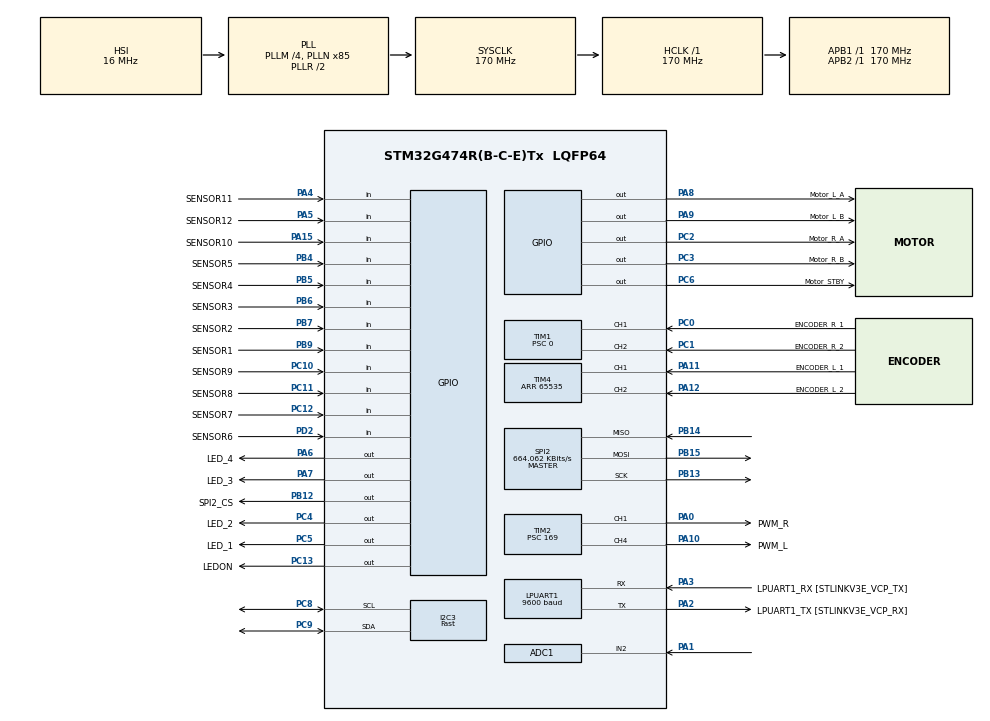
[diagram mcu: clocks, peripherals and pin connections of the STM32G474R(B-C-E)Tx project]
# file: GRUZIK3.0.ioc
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ADC1.Channel-2\#ChannelRegularConversion=ADC_CHANNEL_2
ADC1.ContinuousConvMode=ENABLE
ADC1.DMAContinuousRequests=ENABLE
ADC1.EnableRegularConversion=ENABLE
ADC1.NbrOfConversion=1
ADC1.NbrOfConversionFlag=1
ADC1.OffsetNumber-2\#ChannelRegularConversion=ADC_OFFSET_NONE
ADC1.Rank-2\#ChannelRegularConversion=1
ADC1.SamplingTime-2\#ChannelRegularConversion=ADC_SAMPLETIME_640CYCLES_5
ADC1.master=1
Dma.ADC1.0.Direction=DMA_PERIPH_TO_MEMORY
Dma.ADC1.0.EventEnable=DISABLE
Dma.ADC1.0.Instance=DMA1_Channel1
Dma.ADC1.0.MemDataAlignment=DMA_MDATAALIGN_HALFWORD
Dma.ADC1.0.MemInc=DMA_MINC_ENABLE
Dma.ADC1.0.Mode=DMA_CIRCULAR
Dma.ADC1.0.PeriphDataAlignment=DMA_PDATAALIGN_HALFWORD
Dma.ADC1.0.PeriphInc=DMA_PINC_DISABLE
Dma.ADC1.0.Polarity=HAL_DMAMUX_REQ_GEN_RISING
Dma.ADC1.0.Priority=DMA_PRIORITY_LOW
Dma.ADC1.0.RequestNumber=1
Dma.ADC1.0.SignalID=NONE
Dma.ADC1.0.SyncEnable=DISABLE
Dma.ADC1.0.SyncPolarity=HAL_DMAMUX_SYNC_NO_EVENT
Dma.ADC1.0.SyncRequestNumber=1
Dma.ADC1.0.SyncSignalID=NONE
Dma.Request0=ADC1
Dma.Request1=TIM4_UP
Dma.TIM4_UP.1.Direction=DMA_PERIPH_TO_MEMORY
Dma.TIM4_UP.1.EventEnable=DISABLE
Dma.TIM4_UP.1.Instance=DMA1_Channel2
Dma.TIM4_UP.1.MemDataAlignment=DMA_MDATAALIGN_WORD
Dma.TIM4_UP.1.MemInc=DMA_MINC_DISABLE
Dma.TIM4_UP.1.Mode=DMA_CIRCULAR
Dma.TIM4_UP.1.PeriphDataAlignment=DMA_PDATAALIGN_WORD
Dma.TIM4_UP.1.PeriphInc=DMA_PINC_DISABLE
Dma.TIM4_UP.1.Polarity=HAL_DMAMUX_REQ_GEN_RISING
Dma.TIM4_UP.1.Priority=DMA_PRIORITY_LOW
Dma.TIM4_UP.1.RequestNumber=1
Dma.TIM4_UP.1.SignalID=NONE
Dma.TIM4_UP.1.SyncEnable=DISABLE
Dma.TIM4_UP.1.SyncPolarity=HAL_DMAMUX_SYNC_NO_EVENT
Dma.TIM4_UP.1.SyncRequestNumber=1
Dma.TIM4_UP.1.SyncSignalID=NONE
I2C3.I2C_Speed_Mode=I2C_Fast
I2C3.Timing=0x40621236
LPUART1.BaudRate=9600
LPUART1.WordLength=UART_WORDLENGTH_8B
Mcu.Family=STM32G4
Mcu.Name=STM32G474R(B-C-E)Tx
Mcu.Package=LQFP64
NVIC.DMA1_Channel1_IRQn=true\:0\:0\:false\:false\:true\:false\:true\:true
NVIC.DMA1_Channel2_IRQn=true\:0\:0\:false\:false\:true\:false\:true\:true
NVIC.LPUART1_IRQn=true\:0\:0\:false\:false\:true\:true\:true\:true
NVIC.PriorityGroup=NVIC_PRIORITYGROUP_4
NVIC.TIM5_IRQn=true\:0\:0\:false\:false\:true\:true\:true\:true
PA0.GPIO_Label=PWM_R
PA0.Signal=S_TIM2_CH1
PA1.Mode=IN2-Single-Ended
PA1.Signal=ADC1_IN2
PA10.GPIO_Label=PWM_L
PA10.Signal=S_TIM2_CH4
PA11.GPIO_Label=ENCODER_L_1
PA11.Signal=S_TIM4_CH1
PA12.GPIO_Label=ENCODER_L_2
PA12.Signal=S_TIM4_CH2
PA13.GPIO_Label=T_SWDIO
PA13.Mode=Serial_Wire
PA13.Signal=SYS_JTMS-SWDIO
PA14.GPIO_Label=T_SWCLK
PA14.Mode=Serial_Wire
PA14.Signal=SYS_JTCK-SWCLK
PA15.GPIO_Label=SENSOR10
PA15.Signal=GPIO_Input
PA2.GPIO_Label=LPUART1_TX [STLINKV3E_VCP_RX]
PA2.Mode=Asynchronous
PA2.Signal=LPUART1_TX
PA3.GPIO_Label=LPUART1_RX [STLINKV3E_VCP_TX]
PA3.Mode=Asynchronous
PA3.Signal=LPUART1_RX
PA4.GPIO_Label=SENSOR11
PA4.Signal=GPIO_Input
PA5.GPIO_Label=SENSOR12
PA5.Signal=GPIO_Input
PA6.GPIO_Label=LED_4
PA6.Signal=GPIO_Output
PA7.GPIO_Label=LED_3
PA7.Signal=GPIO_Output
PA8.GPIO_Label=Motor_L_A
PA8.Signal=GPIO_Output
PA9.GPIO_Label=Motor_L_B
PA9.Signal=GPIO_Output
PB12.GPIO_Label=SPI2_CS
PB12.Signal=GPIO_Output
PB13.Mode=Full_Duplex_Master
PB13.Signal=SPI2_SCK
PB14.Mode=Full_Duplex_Master
PB14.Signal=SPI2_MISO
PB15.Mode=Full_Duplex_Master
PB15.Signal=SPI2_MOSI
PB3.GPIO_Label=T_SWO
PB3.Signal=SYS_JTDO-SWO
PB4.GPIO_Label=SENSOR5
PB4.Signal=GPIO_Input
PB5.GPIO_Label=SENSOR4
PB5.Signal=GPIO_Input
PB6.GPIO_Label=SENSOR3
PB6.Signal=GPIO_Input
PB7.GPIO_Label=SENSOR2
PB7.Signal=GPIO_Input
PB9.GPIO_Label=SENSOR1
PB9.Signal=GPIO_Input
PC0.GPIO_Label=ENCODER_R_1
PC0.Signal=S_TIM1_CH1
PC1.GPIO_Label=ENCODER_R_2
PC1.Signal=S_TIM1_CH2
PC10.GPIO_Label=SENSOR9
PC10.Signal=GPIO_Input
PC11.GPIO_Label=SENSOR8
PC11.Signal=GPIO_Input
PC12.GPIO_Label=SENSOR7
PC12.Signal=GPIO_Input
PC13.GPIO_Label=LEDON
PC13.Signal=GPIO_Output
PC14-OSC32_IN.Mode=LSE-External-Oscillator
PC14-OSC32_IN.Signal=RCC_OSC32_IN
PC15-OSC32_OUT.Mode=LSE-External-Oscillator
PC15-OSC32_OUT.Signal=RCC_OSC32_OUT
PC2.GPIO_Label=Motor_R_A
PC2.Signal=GPIO_Output
PC3.GPIO_Label=Motor_R_B
PC3.Signal=GPIO_Output
PC4.GPIO_Label=LED_2
PC4.Signal=GPIO_Output
PC5.GPIO_Label=LED_1
PC5.Signal=GPIO_Output
PC6.GPIO_Label=Motor_STBY
PC6.Signal=GPIO_Output
PC8.Mode=I2C
PC8.Signal=I2C3_SCL
PC9.Mode=I2C
PC9.Signal=I2C3_SDA
PD2.GPIO_Label=SENSOR6
PD2.Signal=GPIO_Input
PF0-OSC_IN.Mode=HSE-External-Oscillator
PF0-OSC_IN.Signal=RCC_OSC_IN
PF1-OSC_OUT.Mode=HSE-External-Oscillator
PF1-OSC_OUT.Signal=RCC_OSC_OUT
ProjectManager.HeapSize=0x200
ProjectManager.StackSize=0x400
ProjectManager.TargetToolchain=STM32CubeIDE
RCC.ADC12Freq_Value=170000000
RCC.ADC345Freq_Value=170000000
RCC.AHBFreq_Value=170000000
RCC.APB1Freq_Value=170000000
RCC.APB1TimFreq_Value=170000000
RCC.APB2Freq_Value=170000000
RCC.APB2TimFreq_Value=170000000
RCC.CortexFreq_Value=170000000
RCC.EXTERNAL_CLOCK_VALUE=12288000
RCC.HCLKFreq_Value=170000000
RCC.HSE_VALUE=24000000
RCC.HSI48_VALUE=48000000
RCC.HSI_VALUE=16000000
RCC.LPUART1CLockSelection=RCC_LPUART1CLKSOURCE_LSE
RCC.PLLM=RCC_PLLM_DIV4
RCC.PLLN=85
RCC.RTCClockSelection=RCC_RTCCLKSOURCE_LSE
RCC.SYSCLKFreq_VALUE=170000000
RCC.SYSCLKSource=RCC_SYSCLKSOURCE_PLLCLK
RCC.USBFreq_Value=170000000
RCC.VCOOutputFreq_Value=340000000
SH.S_TIM1_CH1.0=TIM1_CH1,Encoder_Interface
SH.S_TIM1_CH2.0=TIM1_CH2,Encoder_Interface
SH.S_TIM2_CH1.0=TIM2_CH1,PWM Generation1 CH1
SH.S_TIM2_CH4.0=TIM2_CH4,PWM Generation4 CH4
SH.S_TIM4_CH1.0=TIM4_CH1,Encoder_Interface
SH.S_TIM4_CH2.0=TIM4_CH2,Encoder_Interface
SPI2.BaudRatePrescaler=SPI_BAUDRATEPRESCALER_256
SPI2.CalculateBaudRate=664.062 KBits/s
SPI2.DataSize=SPI_DATASIZE_8BIT
SPI2.Direction=SPI_DIRECTION_2LINES
SPI2.Mode=SPI_MODE_MASTER
SPI2.VirtualType=VM_MASTER
TIM1.CounterMode=TIM_COUNTERMODE_UP
TIM1.EncoderMode=TIM_ENCODERMODE_TI12
TIM1.IC1Filter=3
TIM1.IC2Filter=3
TIM1.PeriodNoDither=65535
TIM1.Prescaler=0
TIM2.Channel-PWM\ Generation1\ CH1=TIM_CHANNEL_1
TIM2.Channel-PWM\ Generation4\ CH4=TIM_CHANNEL_4
TIM2.PeriodNoDither=999
TIM2.Prescaler=169
TIM3.Prescaler=169
TIM4.CounterMode=TIM_COUNTERMODE_UP
TIM4.EncoderMode=TIM_ENCODERMODE_TI12
TIM4.IC1Filter=3
TIM4.IC2Filter=3
TIM4.PeriodNoDither=65535
TIM5.CounterMode=TIM_COUNTERMODE_DOWN
TIM5.PeriodNoDither=999
TIM5.Prescaler=169
VP_FATFS_VS_Generic.Mode=User_defined
VP_SYS_VS_DBSignals.Mode=DisableDeadBatterySignals
VP_TIM2_VS_ClockSourceINT.Mode=Internal
VP_TIM3_VS_ClockSourceINT.Mode=Internal
VP_TIM5_VS_ClockSourceINT.Mode=Internal
board=NUCLEO-G474RE

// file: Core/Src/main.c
/* USER CODE BEGIN Header */
/**
  ******************************************************************************
  * @file           : main.c
  * @brief          : Main program body
  ******************************************************************************
  * @attention
  *
  * Copyright (c) 2024 STMicroelectronics.
  * All rights reserved.
  *
  * This software is licensed under terms that can be found in the LICENSE file
  * in the root directory of this software component.
  * If no LICENSE file comes with this software, it is provided AS-IS.
  *
  ******************************************************************************
  */
/* USER CODE END Header */
#include "main.h"
#include "adc.h"
#include "dma.h"
#include "app_fatfs.h"
#include "i2c.h"
#include "usart.h"
#include "spi.h"
#include "tim.h"
#include "gpio.h"

/* USER CODE BEGIN Includes */
#include "stdlib.h"
#include "stdio.h"
#include "string.h"
#include "Line_Follower.h"
#include "RingBuffer.h"
#include "SimpleParser.h"
#include "motor.h"
#include "LowPassFilter.h"
#include "TJ_MPU6050.h"
#include "map.h"
#include "odometry.h"
#include "robot_config.h"
#include "robot_settings.h"
#include <math.h>
/* USER CODE END Includes */

/* USER CODE BEGIN PV */
	/*Defines*/
//	#define true 1;
//	#define false 0;

	//uint8_t DrivingOnMap = 1;
	uint8_t SDReadingReady = 0;
	#define ENDLINE '\n'

	/*Sensor*/
	#define SENSOR_SCALE 1 // sensor values multiplier -- for tests only

	/*MAP*/
	#define CURVATURE_COMPENSATION 0
	Map_t map;
	Odometry_t RobotOdom;
	/*FatFS variables*/
	FRESULT FatFsResult;
	FATFS SdFatFs;
	FIL SdCardFile;

	/*IMU*/
	RawData_Def myAccelRaw, myGyroRaw;
	ScaledData_Def myAccelScaled, myGyroScaled;
	MPU_ConfigTypeDef myMpuConfig;

	float Yaw;
	static float GyroZBiasDps = 0.0f;
	static float GyroZRawDps = 0.0f;
	static float GyroZCorrectedDps = 0.0f;
	/*Encoders*/
	#define PI_MOTOR_SPEED_REGULATION 1
	#define LOW_PASS_FILTER_ALPHA 0.7
	LineFollower_t GRUZIK;
	motor_t Motor_L;
	motor_t Motor_R;

	uint16_t timer_counter_L;
	uint16_t timer_counter_R;

	/*Rest of PIDR regulator*/
	uint64_t Sensors_read = 0x000000000000ULL;
	int Position;
	float Ki = 0;
	float Kr = 0;
	int P, I, D, R;
	int Last_error = 0;
	int Errors[10] = {0,0,0,0,0,0,0,0,0,0};
	int Error_sum = 0;
	int Last_end = 0;	// 0 -> Left, 1 -> Right
	int Last_idle = 0;
	float Speed_level = 1;
	int ARR = 4;
	int actives = 0;
	uint32_t LastEndTimer;
	static uint8_t LineGapBridgeActive = 0u;
	static uint8_t LineGapBridgeAllowed = 0u;
	static uint32_t LineGapBridgeStartMs = 0u;
	static int LastLineMotorRight = 0;
	static int LastLineMotorLeft = 0;
	static int LastValidLineError = 0;

	/*Communication*/
    char buffer[28];
    uint8_t buffer_2[60];
    uint8_t RxData;
	RingBuffer_t RB, ReceiveBuffer;
    uint8_t ReceivedData[PARSER_LINE_BUFFER_SIZE];
	volatile uint8_t ReceivedLines;
	volatile uint8_t MappingAutoClosePending;

/* USER CODE END PV */

void SystemClock_Config(void);
/* USER CODE BEGIN PFP */
void PID_control();
int errors_sum (int index, int abs);
void past_errors (int error);
void forward_brake(int pos_right, int pos_left);
int QTR8_read();
void sharp_turn();
void motor_control (double pos_right, double pos_left);
static void Robot_StopOutputs(void);
static void Robot_ServiceTelemetry(void);
static void Robot_ServiceControl(void);
static void Robot_SendOdomTelemetry(void);
static void Robot_SendDebugTelemetry(void);
static void Robot_UpdateSpeedStats(void);
static float ClampMotorCommand(float speed);
static uint32_t LineSensorThresholdUs(void);
static void LineSensorDelayUs(uint32_t delay_us);
static void LineSensorSetInput(void);
static void LineSensorSetOutputHigh(void);
static uint8_t LineSensorIsActive(GPIO_PinState state);
static uint8_t LineSensorTouchesGapEdgeGuard(void);
void Robot_ResetOdometry(void);
/* USER CODE END PFP */

int main(void)
{

  /* MCU Configuration--------------------------------------------------------*/

  /* Reset of all peripherals, Initializes the Flash interface and the Systick. */
  HAL_Init();

  /* Configure the system clock */
  SystemClock_Config();

  /* Initialize all configured peripherals */
  MX_GPIO_Init();
  MX_DMA_Init();
  MX_LPUART1_UART_Init();
  MX_ADC1_Init();
  MX_I2C3_Init();
  MX_SPI2_Init();
  MX_TIM1_Init();
  MX_TIM2_Init();
  MX_TIM4_Init();
  MX_TIM3_Init();
  MX_TIM5_Init();
  if (MX_FATFS_Init() != APP_OK) {
    Error_Handler();
  }
  /* USER CODE BEGIN 2 */
  	HAL_ADC_Start_DMA(&hadc1, (uint32_t*)&GRUZIK.Adc_Value, 1);

  	/*Initial values for driving on Optimized route*/
  	map.p = 90.0f;
  	map.i = 0;
  	map.d = 10.0f;

  	GRUZIK.state = PidFollowing;
  	GRUZIK.PowerMode = Stop;
  	GRUZIK.LineFollowing = 0u;

  	/*Set initial values for PID*/
    GRUZIK.Kp = 0.015;
  	GRUZIK.Kd = 0.085;
  	GRUZIK.Speed_offset = 0.014;
  	GRUZIK.treshold = ROBOT_LINE_SENSOR_DEFAULT_THRESHOLD_US;

  	GRUZIK.Base_speed_R = 80;
  	GRUZIK.Base_speed_L = 80;
  	GRUZIK.Max_speed_R = 80;
  	GRUZIK.Max_speed_L = 80;

  	/*Sharp turn speed*/
  	GRUZIK.Sharp_bend_speed_right= -50;
  	GRUZIK.Sharp_bend_speed_left= 100;
  	GRUZIK.Bend_speed_right= -50;
  	GRUZIK.Bend_speed_left= 100;

  	map.Kk = 0;
  	map.DefaultPlaybackSpeed = 80.0f;
  	Map_Reset(&map);
  	(void)RobotSettings_Load(&GRUZIK, &map);
  	Odometry_Init(&RobotOdom, ROBOT_ODOMETRY_GYRO_WEIGHT);
  	Robot_ResetOdometry();

    /*Start receiving data from Blue tooth*/
    HAL_UART_Receive_IT(&hlpuart1, &RxData, 1);

    /*encoders*/
    HAL_TIM_Encoder_Start(&htim4, TIM_CHANNEL_ALL); // Left Encoder
    HAL_TIM_Encoder_Start(&htim1, TIM_CHANNEL_ALL); // Right Encoder

    //         Motor     KP    KI
    Motor_Init(&Motor_R, 0.1, 0.2);//0.1 0.2
    Motor_Init(&Motor_L, 0.1, 0.2);
    Motor_SetEncoderDirection(&Motor_L, ROBOT_LEFT_ENCODER_DIRECTION);
    Motor_SetEncoderDirection(&Motor_R, ROBOT_RIGHT_ENCODER_DIRECTION);
    LowPassFilter_Init(&Motor_R.EncoderRpmFilter, LOW_PASS_FILTER_ALPHA);
    LowPassFilter_Init(&Motor_L.EncoderRpmFilter, LOW_PASS_FILTER_ALPHA);
    LowPassFilter_Init(&Motor_L.MetersPerSecondLPF, LOW_PASS_FILTER_ALPHA);
    LowPassFilter_Init(&Motor_R.MetersPerSecondLPF, LOW_PASS_FILTER_ALPHA);

    /*SD Card mount check. Files are opened by parser commands when needed. */
    FatFsResult = f_mount(&SdFatFs, "", 1);
    SDReadingReady = (FatFsResult == FR_OK) ? 1u : 0u;
    (void)Parser_ServicePendingBluetoothName();
	/*Start timers and PWM on channels*/
	HAL_TIM_Base_Start_IT(&htim3);
	HAL_TIM_PWM_Start(&htim2, TIM_CHANNEL_1);//right pwm
	HAL_TIM_PWM_Start(&htim2, TIM_CHANNEL_4);//left pwm

	/*IMU initialization*/
	//1. Initialize the MPU6050 module and I2C
	MPU6050_Init(&hi2c3);

	//2. Configure parameters
	myMpuConfig.Accel_Full_Scale = AFS_SEL_16g;
	myMpuConfig.ClockSource = Internal_8MHz;
	myMpuConfig.CONFIG_DLPF = DLPF_184A_188G_Hz;
	myMpuConfig.Gyro_Full_Scale = FS_SEL_2000;
	myMpuConfig.Sleep_Mode_Bit = 0;  //1: sleep mode, 0: normal mode
	MPU6050_Config(&myMpuConfig);
	htim4.Instance->CNT = ROBOT_ENCODER_COUNTER_CENTER;
	htim1.Instance->CNT = ROBOT_ENCODER_COUNTER_CENTER;
	HAL_TIM_Base_Start_IT(&htim5);

    /*LED diodes initial set*/
    HAL_GPIO_WritePin(LED_4_GPIO_Port, LED_4_Pin, GPIO_PIN_SET);
    HAL_GPIO_WritePin(LED_3_GPIO_Port, LED_3_Pin, GPIO_PIN_SET);
    HAL_GPIO_WritePin(LED_2_GPIO_Port, LED_2_Pin, GPIO_PIN_SET);
    HAL_GPIO_WritePin(LED_1_GPIO_Port, LED_1_Pin, GPIO_PIN_SET);

  /* USER CODE END 2 */

  /* Infinite loop */
  while (1)
  {

    /* USER CODE BEGIN 3 */
	  if(ReceivedLines > 0u)
	  {
		  Parser_TakeLine(&ReceiveBuffer, ReceivedData);
		  Parser_Parse(ReceivedData,&GRUZIK);
		  ReceivedLines--;
	  }

	  if(MappingAutoClosePending != 0u)
	  {
		  MappingAutoClosePending = 0u;
		  Parser_FinishMappingAutoClosed(&GRUZIK);
	  }

	  Robot_ServiceControl();
	  Robot_ServiceTelemetry();
	  RobotSettings_Service(&GRUZIK, &map);

  }
  /* USER CODE END 3 */
}

void SystemClock_Config(void)
{
  RCC_OscInitTypeDef RCC_OscInitStruct = {0};
  RCC_ClkInitTypeDef RCC_ClkInitStruct = {0};

  /** Configure the main internal regulator output voltage
  */
  HAL_PWREx_ControlVoltageScaling(PWR_REGULATOR_VOLTAGE_SCALE1_BOOST);

  /** Configure LSE Drive Capability
  */
  HAL_PWR_EnableBkUpAccess();
  __HAL_RCC_LSEDRIVE_CONFIG(RCC_LSEDRIVE_LOW);

  /** Initializes the RCC Oscillators according to the specified parameters
  * in the RCC_OscInitTypeDef structure.
  */
  RCC_OscInitStruct.OscillatorType = RCC_OSCILLATORTYPE_HSI|RCC_OSCILLATORTYPE_LSE;
  RCC_OscInitStruct.LSEState = RCC_LSE_ON;
  RCC_OscInitStruct.HSIState = RCC_HSI_ON;
  RCC_OscInitStruct.HSICalibrationValue = RCC_HSICALIBRATION_DEFAULT;
  RCC_OscInitStruct.PLL.PLLState = RCC_PLL_ON;
  RCC_OscInitStruct.PLL.PLLSource = RCC_PLLSOURCE_HSI;
  RCC_OscInitStruct.PLL.PLLM = RCC_PLLM_DIV4;
  RCC_OscInitStruct.PLL.PLLN = 85;
  RCC_OscInitStruct.PLL.PLLP = RCC_PLLP_DIV2;
  RCC_OscInitStruct.PLL.PLLQ = RCC_PLLQ_DIV2;
  RCC_OscInitStruct.PLL.PLLR = RCC_PLLR_DIV2;
  if (HAL_RCC_OscConfig(&RCC_OscInitStruct) != HAL_OK)
  {
    Error_Handler();
  }

  /** Initializes the CPU, AHB and APB buses clocks
  */
  RCC_ClkInitStruct.ClockType = RCC_CLOCKTYPE_HCLK|RCC_CLOCKTYPE_SYSCLK
                              |RCC_CLOCKTYPE_PCLK1|RCC_CLOCKTYPE_PCLK2;
  RCC_ClkInitStruct.SYSCLKSource = RCC_SYSCLKSOURCE_PLLCLK;
  RCC_ClkInitStruct.AHBCLKDivider = RCC_SYSCLK_DIV1;
  RCC_ClkInitStruct.APB1CLKDivider = RCC_HCLK_DIV1;
  RCC_ClkInitStruct.APB2CLKDivider = RCC_HCLK_DIV1;

  if (HAL_RCC_ClockConfig(&RCC_ClkInitStruct, FLASH_LATENCY_4) != HAL_OK)
  {
    Error_Handler();
  }
}

/* USER CODE BEGIN 4 */
/*Interrupts*/
void HAL_UART_RxCpltCallback(UART_HandleTypeDef *huart)
{
	if(huart->Instance == LPUART1)
	{
		if(RB_Write(&ReceiveBuffer, RxData) == RB_OK)
		{
			if(RxData == ENDLINE)
			{
				ReceivedLines++;
			}
		}
    	HAL_UART_Receive_IT(&hlpuart1,&RxData, 1);
	}
}
/*Encoders reading at 1KHz */
void HAL_TIM_PeriodElapsedCallback(TIM_HandleTypeDef *htim)
{
	if(htim->Instance == TIM5)
	{
		Motor_L.EncoderValue = __HAL_TIM_GET_COUNTER(&htim4);
		Motor_R.EncoderValue = __HAL_TIM_GET_COUNTER(&htim1);
		htim4.Instance->CNT = ROBOT_ENCODER_COUNTER_CENTER;
		htim1.Instance->CNT = ROBOT_ENCODER_COUNTER_CENTER;

		Motor_CalculateSpeed(&Motor_R);
		Motor_CalculateSpeed(&Motor_L);

		MPU6050_Get_Accel_Scale(&myAccelScaled);
		MPU6050_Get_Gyro_Scale(&myGyroScaled);

		GyroZRawDps = myGyroScaled.z * ROBOT_IMU_Z_DIRECTION;
		if((fabsf(GyroZRawDps) < ROBOT_GYRO_STATIONARY_DPS) &&
		   (fabsf(Motor_L.DistanceInMeasurement) < ROBOT_ENCODER_STATIONARY_M) &&
		   (fabsf(Motor_R.DistanceInMeasurement) < ROBOT_ENCODER_STATIONARY_M))
		{
			GyroZBiasDps += ROBOT_GYRO_BIAS_LEARN_RATE * (GyroZRawDps - GyroZBiasDps);
		}
		GyroZCorrectedDps = GyroZRawDps - GyroZBiasDps;

		Odometry_Update(&RobotOdom,
						Motor_L.DistanceInMeasurement,
						Motor_R.DistanceInMeasurement,
						GyroZCorrectedDps,
						ROBOT_CONTROL_DT_S);
		Map_SyncPose(&map, &RobotOdom.pose, RobotOdom.last_delta_distance_m);
		map.OriIMU = RobotOdom.last_delta_yaw_gyro_rad;
		GRUZIK.Yaw = RobotOdom.pose.yaw_rad;
		GRUZIK.Orientation = RobotOdom.pose.yaw_rad * RAD_TO_DEG;
	}
}
/*Functions*/
void Robot_ResetOdometry(void)
{
	Odometry_Reset(&RobotOdom);
	Map_SyncPose(&map, &RobotOdom.pose, 0.0f);
	GRUZIK.Yaw = 0.0f;
	GRUZIK.Orientation = 0.0f;
}

static void Robot_StopOutputs(void)
{
	LineGapBridgeActive = 0u;
	LineGapBridgeAllowed = 0u;
	LineGapBridgeStartMs = 0u;
	motor_control(0.0, 0.0);
	HAL_GPIO_WritePin(Motor_STBY_GPIO_Port, Motor_STBY_Pin, GPIO_PIN_RESET);
}

static void Robot_UpdateSpeedStats(void)
{
	float current_speed = 0.5f * (Motor_R.MetersPerSecondLPF.output + Motor_L.MetersPerSecondLPF.output);
	if(current_speed < 0.0f)
	{
		current_speed = -current_speed;
	}

	GRUZIK.AverageSpeedSum += current_speed;
	GRUZIK.AverageSpeedNum += 1.0f;
	GRUZIK.AverageSpeed = GRUZIK.AverageSpeedSum / GRUZIK.AverageSpeedNum;

	if(current_speed > GRUZIK.MaxSpeed)
	{
		GRUZIK.MaxSpeed = current_speed;
	}
}

static void Robot_ServiceControl(void)
{
	static uint32_t last_control_ms = 0u;
	uint32_t now = HAL_GetTick();

	if((now - last_control_ms) < ROBOT_LINE_CONTROL_PERIOD_MS)
	{
		return;
	}
	last_control_ms = now;

	if(GRUZIK.PowerMode == Start)
	{
		if(GRUZIK.blockinterrups == 0u)
		{
			if((GRUZIK.state == UnMapping) && (SDReadingReady == 1u))
			{
				DriveOnMap(&map, &RobotOdom.pose);
			}
			else if((GRUZIK.state == UnSpeedMapping) && (SDReadingReady == 1u))
			{
				SpeedUnMapping(&map, &RobotOdom.pose);
			}
			else if((GRUZIK.state == Mapping) && (SDReadingReady == 1u))
			{
				float map_speed_mps = 0.5f * (Motor_R.MetersPerSecondLPF.output + Motor_L.MetersPerSecondLPF.output);
				MapUpdateV2(&map, &RobotOdom.pose, map_speed_mps, GRUZIK.Error_P, GRUZIK.Error_D);
				if(map.AutoClosed != 0u)
				{
					MappingAutoClosePending = 1u;
				}
			}
		}

		if(!((GRUZIK.state == UnMapping) && (map.PlaybackActive != 0u)) && (map.AutoClosed == 0u))
		{
			PID_control();
		}

		Robot_UpdateSpeedStats();

		if((GRUZIK.UnMappingDone == 1u) && (HAL_GetTick() >= (GRUZIK.DoneUnMappingTimer + 1750u)))
		{
			GRUZIK.PowerMode = Stop;
			Robot_StopOutputs();
		}
	}
	else
	{
		Parser_ServiceManualDriveTimeout(&GRUZIK);
		if((TireCleaningActive == 0u) && (ManualDriveActive == 0u))
		{
			Robot_StopOutputs();
		}
	}
}

static void Robot_ServiceTelemetry(void)
{
	static uint32_t last_telemetry_ms = 0u;

	if(TelemetryMode == TELEMETRY_OFF)
	{
		return;
	}

	uint32_t now = HAL_GetTick();
	if((now - last_telemetry_ms) < ROBOT_TELEMETRY_PERIOD_MS)
	{
		return;
	}
	last_telemetry_ms = now;

	if(TelemetryMode == TELEMETRY_DEBUG)
	{
		(void)QTR8_read();
		Robot_SendOdomTelemetry();
		Robot_SendDebugTelemetry();
	}
	else
	{
		Robot_SendOdomTelemetry();
	}
}

static void Robot_SendOdomTelemetry(void)
{
	char tx[192];
	int len = snprintf(tx, sizeof(tx),
					   "ODOM,%.4f,%.4f,%.2f,%.4f,%.3f,%.3f,%.2f,%.2f,%.2f\r\n",
					   RobotOdom.pose.x_m,
					   RobotOdom.pose.y_m,
					   RobotOdom.pose.yaw_rad * RAD_TO_DEG,
					   RobotOdom.total_distance_m,
					   Motor_L.MetersPerSecondLPF.output,
					   Motor_R.MetersPerSecondLPF.output,
					   GyroZCorrectedDps,
					   RobotOdom.encoder_yaw_rad * RAD_TO_DEG,
					   RobotOdom.gyro_yaw_rad * RAD_TO_DEG);

	if((len > 0) && (len < (int)sizeof(tx)))
	{
		HAL_UART_Transmit(&hlpuart1, (uint8_t *)tx, (uint16_t)len, 100);
	}
}

static void Robot_SendDebugTelemetry(void)
{
	char tx[256];
	uint32_t gap_ms = (LineGapBridgeActive != 0u) ? (HAL_GetTick() - LineGapBridgeStartMs) : 0u;
	int len = snprintf(tx, sizeof(tx),
					   "DBG,%d,%d,%d,%ld,%ld,%.1f,%.1f,%.4f,%.4f,%.2f,%.2f,%.2f,%u,%u,%u,%u,%u,%u,%u,%u,%u,%u,%u,%u,%u,%lu\r\n",
					   GRUZIK.SensorPosition,
					   GRUZIK.actives,
					   GRUZIK.Last_end,
					   (long)Motor_L.EncoderDeltaCounts,
					   (long)Motor_R.EncoderDeltaCounts,
					   Motor_L.EncoderRpmFilter.output,
					   Motor_R.EncoderRpmFilter.output,
					   Motor_L.DistanceTraveled,
					   Motor_R.DistanceTraveled,
					   GyroZRawDps,
					   GyroZBiasDps,
					   GyroZCorrectedDps,
					   GRUZIK.SensorValues[0],
					   GRUZIK.SensorValues[1],
					   GRUZIK.SensorValues[2],
					   GRUZIK.SensorValues[3],
					   GRUZIK.SensorValues[4],
					   GRUZIK.SensorValues[5],
					   GRUZIK.SensorValues[6],
					   GRUZIK.SensorValues[7],
					   GRUZIK.SensorValues[8],
					   GRUZIK.SensorValues[9],
					   GRUZIK.SensorValues[10],
					   GRUZIK.SensorValues[11],
					   LineGapBridgeActive,
					   (unsigned long)gap_ms);

	if((len > 0) && (len < (int)sizeof(tx)))
	{
		HAL_UART_Transmit(&hlpuart1, (uint8_t *)tx, (uint16_t)len, 100);
	}
}

static float ClampMotorCommand(float speed)
{
	if(speed < 0.0f)
	{
		return 0.0f;
	}
	if(speed > 250.0f)
	{
		return 250.0f;
	}
	return speed;
}

static uint32_t LineSensorThresholdUs(void)
{
	uint32_t threshold_us = GRUZIK.treshold;
	if(threshold_us == 0u)
	{
		threshold_us = ROBOT_LINE_SENSOR_DEFAULT_THRESHOLD_US;
	}
	if(threshold_us < ROBOT_LINE_SENSOR_MIN_THRESHOLD_US)
	{
		threshold_us = ROBOT_LINE_SENSOR_MIN_THRESHOLD_US;
	}
	if(threshold_us > ROBOT_LINE_SENSOR_MAX_THRESHOLD_US)
	{
		threshold_us = ROBOT_LINE_SENSOR_MAX_THRESHOLD_US;
	}
	return threshold_us;
}

static void LineSensorDelayUs(uint32_t delay_us)
{
	uint16_t start = (uint16_t)__HAL_TIM_GET_COUNTER(&htim3);
	while((uint16_t)((uint16_t)__HAL_TIM_GET_COUNTER(&htim3) - start) < delay_us)
	{
	}
}

static void LineSensorSetInput(void)
{
	GPIO_InitTypeDef GPIO_InitStruct = {0};
	GPIO_InitStruct.Mode = GPIO_MODE_INPUT;
	GPIO_InitStruct.Pull = GPIO_NOPULL;

	GPIO_InitStruct.Pin = SENSOR10_Pin | SENSOR11_Pin | SENSOR12_Pin;
	HAL_GPIO_Init(GPIOA, &GPIO_InitStruct);

	GPIO_InitStruct.Pin = SENSOR1_Pin | SENSOR2_Pin | SENSOR3_Pin | SENSOR4_Pin | SENSOR5_Pin;
	HAL_GPIO_Init(GPIOB, &GPIO_InitStruct);

	GPIO_InitStruct.Pin = SENSOR7_Pin | SENSOR8_Pin | SENSOR9_Pin;
	HAL_GPIO_Init(GPIOC, &GPIO_InitStruct);

	GPIO_InitStruct.Pin = SENSOR6_Pin;
	HAL_GPIO_Init(GPIOD, &GPIO_InitStruct);
}

static void LineSensorSetOutputHigh(void)
{
	GPIO_InitTypeDef GPIO_InitStruct = {0};
	GPIO_InitStruct.Mode = GPIO_MODE_OUTPUT_PP;
	GPIO_InitStruct.Pull = GPIO_NOPULL;
	GPIO_InitStruct.Speed = GPIO_SPEED_FREQ_HIGH;

	GPIO_InitStruct.Pin = SENSOR10_Pin | SENSOR11_Pin | SENSOR12_Pin;
	HAL_GPIO_Init(GPIOA, &GPIO_InitStruct);
	HAL_GPIO_WritePin(GPIOA, SENSOR10_Pin | SENSOR11_Pin | SENSOR12_Pin, GPIO_PIN_SET);

	GPIO_InitStruct.Pin = SENSOR1_Pin | SENSOR2_Pin | SENSOR3_Pin | SENSOR4_Pin | SENSOR5_Pin;
	HAL_GPIO_Init(GPIOB, &GPIO_InitStruct);
	HAL_GPIO_WritePin(GPIOB, SENSOR1_Pin | SENSOR2_Pin | SENSOR3_Pin | SENSOR4_Pin | SENSOR5_Pin, GPIO_PIN_SET);

	GPIO_InitStruct.Pin = SENSOR7_Pin | SENSOR8_Pin | SENSOR9_Pin;
	HAL_GPIO_Init(GPIOC, &GPIO_InitStruct);
	HAL_GPIO_WritePin(GPIOC, SENSOR7_Pin | SENSOR8_Pin | SENSOR9_Pin, GPIO_PIN_SET);

	GPIO_InitStruct.Pin = SENSOR6_Pin;
	HAL_GPIO_Init(GPIOD, &GPIO_InitStruct);
	HAL_GPIO_WritePin(GPIOD, SENSOR6_Pin, GPIO_PIN_SET);
}

static uint8_t LineSensorIsActive(GPIO_PinState state)
{
#if ROBOT_LINE_SENSOR_ACTIVE_HIGH
	return (state == GPIO_PIN_SET) ? 1u : 0u;
#else
	return (state == GPIO_PIN_RESET) ? 1u : 0u;
#endif
}

static uint8_t LineSensorTouchesGapEdgeGuard(void)
{
	uint8_t guard_sensors = ROBOT_LINE_GAP_EDGE_GUARD_SENSORS;
	if(guard_sensors > 6u)
	{
		guard_sensors = 6u;
	}

	for(uint8_t i = 0u; i < guard_sensors; i++)
	{
		if((GRUZIK.SensorValues[i] != 0u) || (GRUZIK.SensorValues[11u - i] != 0u))
		{
			return 1u;
		}
	}

	return 0u;
}

void motor_control (double pos_right, double pos_left)

{
	#ifdef PI_MOTOR_SPEED_REGULATION
	{
		if (pos_left < 0 )
		{
			Motor_L.set_speed = (pos_left * -1);
			PI_Loop(&Motor_L);
			Motor_L.speed = ClampMotorCommand(Motor_L.speed);

			__HAL_TIM_SET_COMPARE (&htim2, TIM_CHANNEL_4, (uint32_t)((ARR*Motor_L.speed) * GRUZIK.Speed_level));//PWM_L
			HAL_GPIO_WritePin(Motor_L_A_GPIO_Port, Motor_L_B_Pin, GPIO_PIN_SET);
			HAL_GPIO_WritePin(Motor_L_B_GPIO_Port, Motor_L_A_Pin, GPIO_PIN_RESET);

		}
		else
		{
			Motor_L.set_speed = pos_left;
			PI_Loop(&Motor_L);
			Motor_L.speed = ClampMotorCommand(Motor_L.speed);

			__HAL_TIM_SET_COMPARE (&htim2, TIM_CHANNEL_4, (uint32_t)((ARR*Motor_L.speed) * GRUZIK.Speed_level));//PWM_L
			HAL_GPIO_WritePin(Motor_L_A_GPIO_Port, Motor_L_B_Pin, GPIO_PIN_RESET);
			HAL_GPIO_WritePin(Motor_L_B_GPIO_Port, Motor_L_A_Pin, GPIO_PIN_SET);
		}
		if (pos_right < 0 )
		{
			Motor_R.set_speed = (pos_right * -1);
			PI_Loop(&Motor_R);
			Motor_R.speed = ClampMotorCommand(Motor_R.speed);

			__HAL_TIM_SET_COMPARE (&htim2, TIM_CHANNEL_1, (uint32_t)((ARR*Motor_R.speed) * GRUZIK.Speed_level));//PWM_R
			HAL_GPIO_WritePin(Motor_R_A_GPIO_Port, Motor_R_A_Pin, GPIO_PIN_SET);
			HAL_GPIO_WritePin(Motor_R_B_GPIO_Port, Motor_R_B_Pin, GPIO_PIN_RESET);
		}
		else
		{
			Motor_R.set_speed = pos_right;
			PI_Loop(&Motor_R);
			Motor_R.speed = ClampMotorCommand(Motor_R.speed);

			__HAL_TIM_SET_COMPARE (&htim2, TIM_CHANNEL_1, (uint32_t)((ARR*Motor_R.speed) * GRUZIK.Speed_level));//PWM_R
			HAL_GPIO_WritePin(Motor_R_A_GPIO_Port, Motor_R_A_Pin, GPIO_PIN_RESET);
			HAL_GPIO_WritePin(Motor_R_B_GPIO_Port, Motor_R_B_Pin, GPIO_PIN_SET);
		}
	}
	#else
	{
		if (pos_left < 0 )
		{
			__HAL_TIM_SET_COMPARE (&htim2, TIM_CHANNEL_4, (uint32_t)((ARR*pos_left*-1) * GRUZIK.Speed_level));//PWM_L
			HAL_GPIO_WritePin(Motor_L_A_GPIO_Port, Motor_L_B_Pin, GPIO_PIN_SET);
			HAL_GPIO_WritePin(Motor_L_B_GPIO_Port, Motor_L_A_Pin, GPIO_PIN_RESET);

		}
		else
		{
			__HAL_TIM_SET_COMPARE (&htim2, TIM_CHANNEL_4, (uint32_t)((ARR*pos_left) * GRUZIK.Speed_level));//PWM_L
			HAL_GPIO_WritePin(Motor_L_A_GPIO_Port, Motor_L_B_Pin, GPIO_PIN_RESET);
			HAL_GPIO_WritePin(Motor_L_B_GPIO_Port, Motor_L_A_Pin, GPIO_PIN_SET);
		}
		if (pos_right < 0 )
		{
			__HAL_TIM_SET_COMPARE (&htim2, TIM_CHANNEL_1, (uint32_t)((ARR*pos_right* -1) * GRUZIK.Speed_level));//PWM_R
			HAL_GPIO_WritePin(Motor_R_A_GPIO_Port, Motor_R_A_Pin, GPIO_PIN_SET);
			HAL_GPIO_WritePin(Motor_R_B_GPIO_Port, Motor_R_B_Pin, GPIO_PIN_RESET);
		}
		else
		{
			__HAL_TIM_SET_COMPARE (&htim2, TIM_CHANNEL_1, (uint32_t)((ARR*pos_right) * GRUZIK.Speed_level));//PWM_R
			HAL_GPIO_WritePin(Motor_R_A_GPIO_Port, Motor_R_A_Pin, GPIO_PIN_RESET);
			HAL_GPIO_WritePin(Motor_R_B_GPIO_Port, Motor_R_B_Pin, GPIO_PIN_SET);
		}
	}
	#endif

}

void sharp_turn ()
{

	if (Last_idle < 25)
	{
		if (Last_end == 1)
			motor_control(GRUZIK.Sharp_bend_speed_right, GRUZIK.Sharp_bend_speed_left);
		else
			motor_control(GRUZIK.Sharp_bend_speed_left, GRUZIK.Sharp_bend_speed_right);
	}
	else
	{
		if (Last_end == 1)
			motor_control(GRUZIK.Bend_speed_right, GRUZIK.Bend_speed_left);
		else
			motor_control(GRUZIK.Bend_speed_left, GRUZIK.Bend_speed_right);
	}
}
int QTR8_read ()
{
	HAL_GPIO_WritePin(LEDON_GPIO_Port, LEDON_Pin, GPIO_PIN_SET);
	LineSensorSetOutputHigh();
	LineSensorDelayUs(ROBOT_LINE_SENSOR_CHARGE_US);
	LineSensorSetInput();
	LineSensorDelayUs(LineSensorThresholdUs());

	const GPIO_PinState sensor_state[12] = {
		HAL_GPIO_ReadPin(SENSOR1_GPIO_Port, SENSOR1_Pin),
		HAL_GPIO_ReadPin(SENSOR2_GPIO_Port, SENSOR2_Pin),
		HAL_GPIO_ReadPin(SENSOR3_GPIO_Port, SENSOR3_Pin),
		HAL_GPIO_ReadPin(SENSOR4_GPIO_Port, SENSOR4_Pin),
		HAL_GPIO_ReadPin(SENSOR5_GPIO_Port, SENSOR5_Pin),
		HAL_GPIO_ReadPin(SENSOR6_GPIO_Port, SENSOR6_Pin),
		HAL_GPIO_ReadPin(SENSOR7_GPIO_Port, SENSOR7_Pin),
		HAL_GPIO_ReadPin(SENSOR8_GPIO_Port, SENSOR8_Pin),
		HAL_GPIO_ReadPin(SENSOR9_GPIO_Port, SENSOR9_Pin),
		HAL_GPIO_ReadPin(SENSOR10_GPIO_Port, SENSOR10_Pin),
		HAL_GPIO_ReadPin(SENSOR11_GPIO_Port, SENSOR11_Pin),
		HAL_GPIO_ReadPin(SENSOR12_GPIO_Port, SENSOR12_Pin)
	};

	Sensors_read = 0x000000000000ULL;
	int pos = 0;
	int active = 0;

	for(uint8_t i = 0u; i < 12u; i++)
	{
		GRUZIK.SensorValues[i] = LineSensorIsActive(sensor_state[i]);
		if(GRUZIK.SensorValues[i] != 0u)
		{
			Sensors_read |= (1ULL << (i * 4u));
			pos += (int)(i + 1u) * 1000 * SENSOR_SCALE;
			active++;
		}
	}

	if((GRUZIK.SensorValues[0] != 0u) && (HAL_GetTick() > (LastEndTimer + 50u)))
	{
		LastEndTimer = HAL_GetTick();
		Last_end = 1;
	}
	if((GRUZIK.SensorValues[11] != 0u) && (HAL_GetTick() > (LastEndTimer + 50u)))
	{
		LastEndTimer = HAL_GetTick();
		Last_end = 0;
	}

	HAL_GPIO_WritePin(LEDON_GPIO_Port, LEDON_Pin, GPIO_PIN_RESET);

	actives = active;
	GRUZIK.actives = active;
	GRUZIK.Last_end = Last_end;

	if(active == 0)
	{
		Last_idle++;
		Position = (Last_end == 1) ? (1000 * SENSOR_SCALE) : (12000 * SENSOR_SCALE);
	}
	else
	{
		Last_idle = 0;
		Position = pos / active;
	}

	GRUZIK.Last_idle = Last_idle;
	GRUZIK.SensorPosition = Position;
	return Position;
}
void forward_brake(int pos_right, int pos_left)
{
	if (actives == 0)
		sharp_turn();
	else
	  motor_control(pos_right, pos_left);
}

void past_errors (int error)
{
  for (int i = 9; i > 0; i--)
      Errors[i] = Errors[i-1];
  Errors[0] = error;
}

int errors_sum (int index, int abs)
{
  int sum = 0;
  for (int i = 0; i < index; i++)
  {
    if (abs == 1 && Errors[i] < 0)
      sum += -Errors[i];
    else
      sum += Errors[i];
  }
  return sum;
}

void PID_control()
{
  uint16_t position = QTR8_read();

#if ROBOT_LINE_GAP_ENABLE
  if(actives == 0)
  {
    uint32_t now = HAL_GetTick();

    if(LineGapBridgeActive == 0u)
    {
      if(LineGapBridgeAllowed != 0u)
      {
        LineGapBridgeActive = 1u;
        LineGapBridgeStartMs = now;
      }
      else
      {
        sharp_turn();
        return;
      }
    }

    if((now - LineGapBridgeStartMs) <= ROBOT_LINE_GAP_MAX_MS)
    {
      motor_control(LastLineMotorRight, LastLineMotorLeft);
      return;
    }

    LineGapBridgeActive = 0u;
    LineGapBridgeAllowed = 0u;
    sharp_turn();
    return;
  }

  LineGapBridgeActive = 0u;
  LineGapBridgeStartMs = 0u;
#endif

  int error = (6500 * SENSOR_SCALE) - position;
  past_errors(error);

  P = error;
  GRUZIK.P = P;
  GRUZIK.Error_P = P;
  I = errors_sum(5, 0);
  D = error - Last_error;
  GRUZIK.D = D;
  GRUZIK.Error_D = D;
  R = errors_sum(5, 1);
  Last_error = error;
  GRUZIK.Last_error = Last_error;

  int motorspeed = P*GRUZIK.Kp + I*Ki + D*GRUZIK.Kd;

  int motorspeedl = GRUZIK.Base_speed_L + motorspeed - R*Kr;
  int motorspeedr = GRUZIK.Base_speed_R - motorspeed - R*Kr;

  if (motorspeedl > GRUZIK.Max_speed_L)
    motorspeedl = GRUZIK.Max_speed_L;
  if (motorspeedr > GRUZIK.Max_speed_R)
    motorspeedr = GRUZIK.Max_speed_R;

#if ROBOT_LINE_GAP_ENABLE
  LastValidLineError = error;
  LastLineMotorRight = motorspeedr;
  LastLineMotorLeft = motorspeedl;
  if((abs(error) <= ROBOT_LINE_GAP_CENTER_ERROR) && (LineSensorTouchesGapEdgeGuard() == 0u))
  {
    LineGapBridgeAllowed = 1u;
  }
  else
  {
    LineGapBridgeAllowed = 0u;
  }
#endif

	forward_brake(motorspeedr, motorspeedl);
}
/* USER CODE END 4 */

void Error_Handler(void)
{
  __disable_irq();
  while (1)
  {
  }
}
